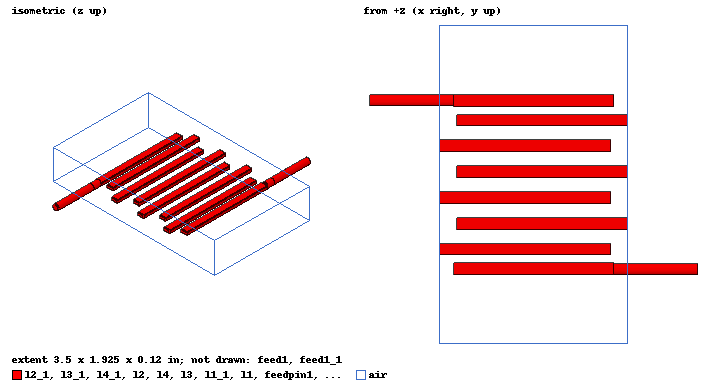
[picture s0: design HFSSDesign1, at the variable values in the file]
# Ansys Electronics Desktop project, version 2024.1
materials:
  vacuum: permittivity=1
  pec: conductivity=1e+30

design HFSSDesign1 (HFSS, HFSS Terminal Network, model units in)
options: Save_Adaptive_support_files
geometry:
  air [vacuum] = box(corner=(-1in, -1.7in, -0.3125in), size=(2in, 3.4in, 0.625in))
  feed1 [vacuum] = cylinder(axis=X, base_centre=(1in, -0.9in, 0in), radius=0.14in, height=0.75in)
  feedpin1 [pec] = cylinder(axis=X, base_centre=(1in, -0.9in, 0in), radius=0.06in, height=0.75in)
  feedprobe1 [pec] = cylinder(axis=X, base_centre=(1in, -0.9in, 0in), radius=0.06in, height=-0.15in)
  l1 [pec] = box(corner=(0.85in, -0.9625in, -0.03in), size=(-1.7in, 0.125in, 0.06in))
  l2 [pec] = box(corner=(-1in, -0.75in, -0.03in), size=(1.818in, 0.125in, 0.06in))
  l3 [pec] = box(corner=(1in, -0.48in, -0.03in), size=(-1.818in, 0.125in, 0.06in))
  l4 [pec] = box(corner=(-1in, -0.2in, -0.03in), size=(1.818in, 0.125in, 0.06in))
  feed1_1 [vacuum] = feed1.duplicate_around_axis(axis=Z, angle=180deg, total=2)
  feedpin1_1 [pec] = feedpin1.duplicate_around_axis(axis=Z, angle=180deg, total=2)
  feedprobe1_1 [pec] = feedprobe1.duplicate_around_axis(axis=Z, angle=180deg, total=2)
  l1_1 [pec] = l1.duplicate_around_axis(axis=Z, angle=180deg, total=2)
  l2_1 [pec] = l2.duplicate_around_axis(axis=Z, angle=180deg, total=2)
  l3_1 [pec] = l3.duplicate_around_axis(axis=Z, angle=180deg, total=2)
  l4_1 [pec] = l4.duplicate_around_axis(axis=Z, angle=180deg, total=2)
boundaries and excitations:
  feedpin1_T1: Terminal port=P1 Faces=feedpin1.face(+x end) TerminalResistance=50ohm
  feedpin1_T2: Terminal port=P2 Faces=feedpin1_1.face(at (-1.75, 0.9, 0)) TerminalResistance=50ohm
  P1: Wave Port Faces=feed1.face(+x end) WavePortType=Terminal NumModes=1
  P2: Wave Port Faces=feed1_1.face(at (-1.75, 0.9, 0)) WavePortType=Terminal NumModes=1
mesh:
  initial mesh: GlobalCurvilinear{Apply}
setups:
  Setup1: HfssDriven Frequency=1.5GHz MaxDeltaS=0.02 MaximumPasses=15 MinimumPasses=1 MinimumConvergedPasses=1 PercentRefinement=30 BasisOrder=1 PortAccuracy=2 DrivenSolverType="Direct Solver" IESolverType=ACA
    sweep Sweep1: 0.6GHz to 2.4GHz, 451 points; Type=Fast SaveFields
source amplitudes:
  P1:1: 1 0deg
  P2:1: 0 0deg
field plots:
  Mag_E1: E Field over a plane on Setup1 : LastAdaptive at Freq=1.5GHz Phase=0deg
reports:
  XY Plot 1: dB(St(feedpin1_T1,feedpin1_T1)), dB(St(feedpin1_T1,feedpin1_T2)) vs Freq on Setup1 : Sweep1
